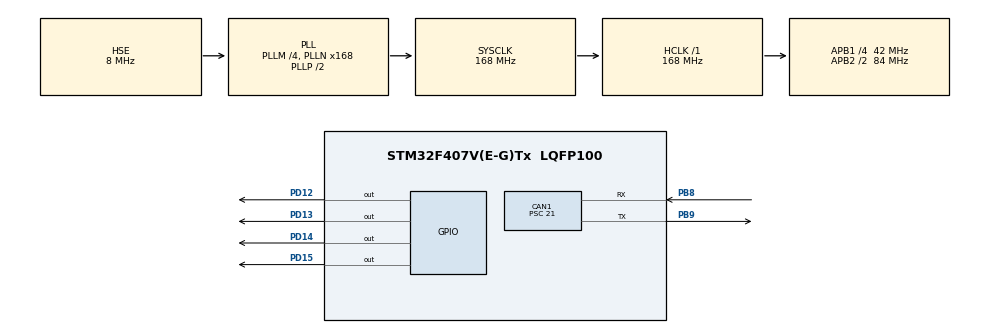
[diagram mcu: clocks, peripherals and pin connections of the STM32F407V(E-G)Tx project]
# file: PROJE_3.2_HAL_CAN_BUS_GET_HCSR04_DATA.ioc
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CAN1.BS1=CAN_BS1_10TQ
CAN1.BS2=CAN_BS2_5TQ
CAN1.CalculateBaudRate=125000
CAN1.CalculateTimeBit=8000
CAN1.CalculateTimeQuantum=500.0
CAN1.Prescaler=21
Mcu.Family=STM32F4
Mcu.Name=STM32F407V(E-G)Tx
Mcu.Package=LQFP100
NVIC.CAN1_RX0_IRQn=true\:0\:0\:false\:false\:true\:true\:true\:true
NVIC.PriorityGroup=NVIC_PRIORITYGROUP_4
PB8.Mode=CAN_Activate
PB8.Signal=CAN1_RX
PB9.Mode=CAN_Activate
PB9.Signal=CAN1_TX
PD12.Signal=GPIO_Output
PD13.Signal=GPIO_Output
PD14.Signal=GPIO_Output
PD15.Signal=GPIO_Output
PH0-OSC_IN.Mode=HSE-External-Oscillator
PH0-OSC_IN.Signal=RCC_OSC_IN
PH1-OSC_OUT.Mode=HSE-External-Oscillator
PH1-OSC_OUT.Signal=RCC_OSC_OUT
ProjectManager.HeapSize=0x200
ProjectManager.StackSize=0x400
ProjectManager.TargetToolchain=STM32CubeIDE
RCC.48MHZClocksFreq_Value=84000000
RCC.AHBFreq_Value=168000000
RCC.APB1CLKDivider=RCC_HCLK_DIV4
RCC.APB1Freq_Value=42000000
RCC.APB1TimFreq_Value=84000000
RCC.APB2CLKDivider=RCC_HCLK_DIV2
RCC.APB2Freq_Value=84000000
RCC.APB2TimFreq_Value=168000000
RCC.CortexFreq_Value=168000000
RCC.HCLKFreq_Value=168000000
RCC.HSE_VALUE=8000000
RCC.HSI_VALUE=16000000
RCC.LSE_VALUE=32768
RCC.PLLM=4
RCC.PLLN=168
RCC.PLLSourceVirtual=RCC_PLLSOURCE_HSE
RCC.SYSCLKFreq_VALUE=168000000
RCC.SYSCLKSource=RCC_SYSCLKSOURCE_PLLCLK
RCC.VCOOutputFreq_Value=336000000
board=custom

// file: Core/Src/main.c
/* USER CODE BEGIN Header */
/**
  ******************************************************************************
  * @file           : main.c
  * @brief          : Main program body
  ******************************************************************************
  * @attention
  *
  * Copyright (c) 2023 STMicroelectronics.
  * All rights reserved.
  *
  * This software is licensed under terms that can be found in the LICENSE file
  * in the root directory of this software component.
  * If no LICENSE file comes with this software, it is provided AS-IS.
  *
  ******************************************************************************
  */
/* USER CODE END Header */
#include "main.h"

CAN_HandleTypeDef hcan1;

/* USER CODE BEGIN PV */

CAN_RxHeaderTypeDef pRxHeader;

uint8_t hcsr_data;

CAN_TxHeaderTypeDef pHeader;
CAN_FilterTypeDef sFilterConfig;

/* USER CODE END PV */

void SystemClock_Config(void);
static void MX_GPIO_Init(void);
static void MX_CAN1_Init(void);

int main(void)
{

  /* MCU Configuration--------------------------------------------------------*/

  /* Reset of all peripherals, Initializes the Flash interface and the Systick. */
  HAL_Init();

  /* Configure the system clock */
  SystemClock_Config();

  /* Initialize all configured peripherals */
  MX_GPIO_Init();
  MX_CAN1_Init();
  /* USER CODE BEGIN 2 */

  pHeader.DLC=1;
  pHeader.IDE=CAN_ID_EXT;
  pHeader.RTR=CAN_RTR_DATA;
  pHeader.ExtId=0x00000002;  //mesaj göndermeyecegiz, önemli degil

  sFilterConfig.FilterActivation=ENABLE;
  sFilterConfig.FilterBank=0;
  sFilterConfig.FilterFIFOAssignment=CAN_FILTER_FIFO0;
  sFilterConfig.FilterIdHigh=0x0AF09876 >> 13;
  sFilterConfig.FilterIdLow=0;
  sFilterConfig.FilterMaskIdHigh=0x0AF09876 >> 13; //veya 0xFFFFFFFF >> 13;
  sFilterConfig.FilterMaskIdLow=0;
  sFilterConfig.FilterMode=CAN_FILTERMODE_IDMASK;
  sFilterConfig.FilterScale=CAN_FILTERSCALE_32BIT; //ext id oldugu icin 32 bit

  HAL_CAN_ConfigFilter(&hcan1, &sFilterConfig);

  //can start
  HAL_CAN_Start(&hcan1);

  //mesaj alınca interrupta girecegiz, aktif edelim
  HAL_CAN_ActivateNotification(&hcan1, CAN_IT_RX_FIFO0_MSG_PENDING);
  // _it.c yi acalim, oradan devam

  /* USER CODE END 2 */

  /* Infinite loop */
  while (1)
  {

    /* USER CODE BEGIN 3 */

	  if(hcsr_data > 6 && hcsr_data < 12 )
	  {
		  HAL_GPIO_WritePin(GPIOD, GPIO_PIN_12, GPIO_PIN_SET);
		  HAL_GPIO_WritePin(GPIOD, GPIO_PIN_13 | GPIO_PIN_14 | GPIO_PIN_15 , GPIO_PIN_RESET);
	  }
	  else if(hcsr_data > 12 && hcsr_data < 18  )
	  {
		  HAL_GPIO_WritePin(GPIOD, GPIO_PIN_12 | GPIO_PIN_13, GPIO_PIN_SET);
		  		  HAL_GPIO_WritePin(GPIOD, GPIO_PIN_14 | GPIO_PIN_15 , GPIO_PIN_RESET);
	  }
	  else if(hcsr_data > 18  && hcsr_data < 24)
	  {
		  HAL_GPIO_WritePin(GPIOD, GPIO_PIN_12 | GPIO_PIN_13 | GPIO_PIN_14, GPIO_PIN_SET);
		  		  		  HAL_GPIO_WritePin(GPIOD, GPIO_PIN_15 , GPIO_PIN_RESET);
	  }
	  else if(hcsr_data > 24)
	  {
		  HAL_GPIO_WritePin(GPIOD, GPIO_PIN_12 | GPIO_PIN_13 | GPIO_PIN_14 | GPIO_PIN_15, GPIO_PIN_SET);

	  }
	  else
	  {
		  HAL_GPIO_WritePin(GPIOD, GPIO_PIN_12 | GPIO_PIN_13 | GPIO_PIN_14 | GPIO_PIN_15, GPIO_PIN_RESET);

	  }

  }
  /* USER CODE END 3 */
}

void SystemClock_Config(void)
{
  RCC_OscInitTypeDef RCC_OscInitStruct = {0};
  RCC_ClkInitTypeDef RCC_ClkInitStruct = {0};

  /** Configure the main internal regulator output voltage
  */
  __HAL_RCC_PWR_CLK_ENABLE();
  __HAL_PWR_VOLTAGESCALING_CONFIG(PWR_REGULATOR_VOLTAGE_SCALE1);

  /** Initializes the RCC Oscillators according to the specified parameters
  * in the RCC_OscInitTypeDef structure.
  */
  RCC_OscInitStruct.OscillatorType = RCC_OSCILLATORTYPE_HSE;
  RCC_OscInitStruct.HSEState = RCC_HSE_ON;
  RCC_OscInitStruct.PLL.PLLState = RCC_PLL_ON;
  RCC_OscInitStruct.PLL.PLLSource = RCC_PLLSOURCE_HSE;
  RCC_OscInitStruct.PLL.PLLM = 4;
  RCC_OscInitStruct.PLL.PLLN = 168;
  RCC_OscInitStruct.PLL.PLLP = RCC_PLLP_DIV2;
  RCC_OscInitStruct.PLL.PLLQ = 4;
  if (HAL_RCC_OscConfig(&RCC_OscInitStruct) != HAL_OK)
  {
    Error_Handler();
  }

  /** Initializes the CPU, AHB and APB buses clocks
  */
  RCC_ClkInitStruct.ClockType = RCC_CLOCKTYPE_HCLK|RCC_CLOCKTYPE_SYSCLK
                              |RCC_CLOCKTYPE_PCLK1|RCC_CLOCKTYPE_PCLK2;
  RCC_ClkInitStruct.SYSCLKSource = RCC_SYSCLKSOURCE_PLLCLK;
  RCC_ClkInitStruct.AHBCLKDivider = RCC_SYSCLK_DIV1;
  RCC_ClkInitStruct.APB1CLKDivider = RCC_HCLK_DIV4;
  RCC_ClkInitStruct.APB2CLKDivider = RCC_HCLK_DIV2;

  if (HAL_RCC_ClockConfig(&RCC_ClkInitStruct, FLASH_LATENCY_5) != HAL_OK)
  {
    Error_Handler();
  }
}

static void MX_CAN1_Init(void)
{

  hcan1.Instance = CAN1;
  hcan1.Init.Prescaler = 21;
  hcan1.Init.Mode = CAN_MODE_NORMAL;
  hcan1.Init.SyncJumpWidth = CAN_SJW_1TQ;
  hcan1.Init.TimeSeg1 = CAN_BS1_10TQ;
  hcan1.Init.TimeSeg2 = CAN_BS2_5TQ;
  hcan1.Init.TimeTriggeredMode = DISABLE;
  hcan1.Init.AutoBusOff = DISABLE;
  hcan1.Init.AutoWakeUp = DISABLE;
  hcan1.Init.AutoRetransmission = DISABLE;
  hcan1.Init.ReceiveFifoLocked = DISABLE;
  hcan1.Init.TransmitFifoPriority = DISABLE;
  if (HAL_CAN_Init(&hcan1) != HAL_OK)
  {
    Error_Handler();
  }

}

static void MX_GPIO_Init(void)
{
  GPIO_InitTypeDef GPIO_InitStruct = {0};

  /* GPIO Ports Clock Enable */
  __HAL_RCC_GPIOH_CLK_ENABLE();
  __HAL_RCC_GPIOD_CLK_ENABLE();
  __HAL_RCC_GPIOB_CLK_ENABLE();

  /*Configure GPIO pin Output Level */
  HAL_GPIO_WritePin(GPIOD, GPIO_PIN_12|GPIO_PIN_13|GPIO_PIN_14|GPIO_PIN_15, GPIO_PIN_RESET);

  /*Configure GPIO pins : PD12 PD13 PD14 PD15 */
  GPIO_InitStruct.Pin = GPIO_PIN_12|GPIO_PIN_13|GPIO_PIN_14|GPIO_PIN_15;
  GPIO_InitStruct.Mode = GPIO_MODE_OUTPUT_PP;
  GPIO_InitStruct.Pull = GPIO_NOPULL;
  GPIO_InitStruct.Speed = GPIO_SPEED_FREQ_LOW;
  HAL_GPIO_Init(GPIOD, &GPIO_InitStruct);

}

void Error_Handler(void)
{
  __disable_irq();
  while (1)
  {
  }
}
